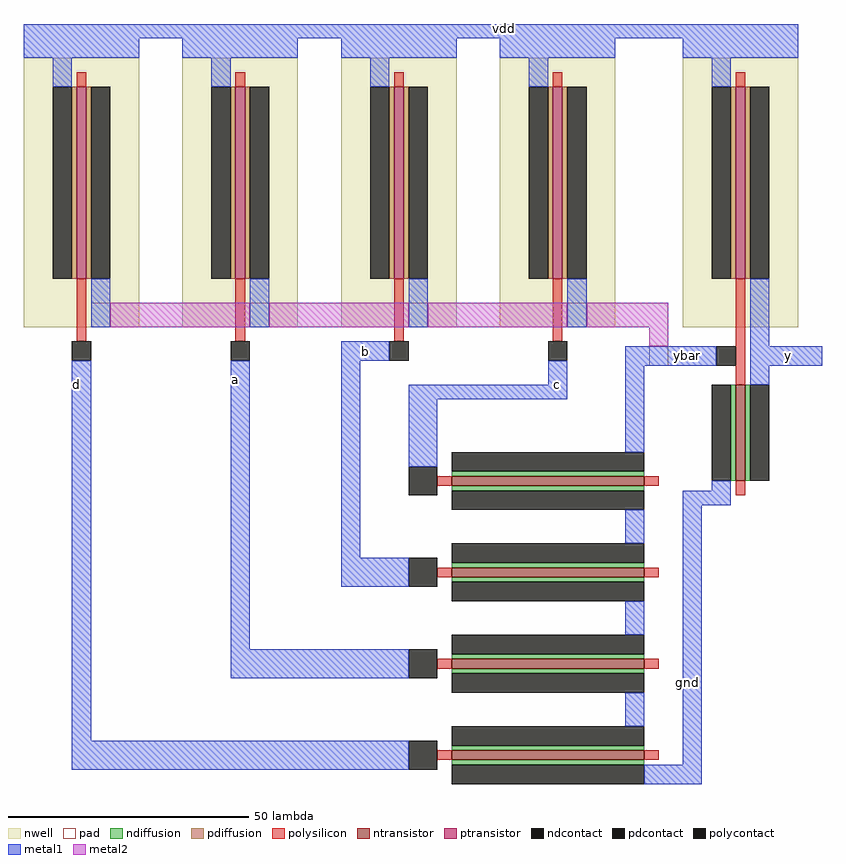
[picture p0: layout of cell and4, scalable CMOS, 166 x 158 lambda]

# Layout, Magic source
magic
tech scmos
<< nwell >>
rect -153 0 -129 56
rect -120 0 -96 56
rect -87 0 -63 56
rect -54 0 -30 56
rect -16 0 8 56
<< polysilicon >>
rect -142 50 -140 53
rect -109 50 -107 53
rect -76 50 -74 53
rect -43 50 -41 53
rect -5 50 -3 53
rect -142 -3 -140 10
rect -109 -3 -107 10
rect -76 -3 -74 10
rect -43 -3 -41 10
rect -5 -12 -3 10
rect -67 -33 -64 -31
rect -24 -33 -21 -31
rect -5 -35 -3 -32
rect -67 -52 -64 -50
rect -24 -52 -21 -50
rect -67 -71 -64 -69
rect -24 -71 -21 -69
rect -67 -90 -64 -88
rect -24 -90 -21 -88
<< ndiffusion >>
rect -64 -31 -24 -30
rect -6 -32 -5 -12
rect -3 -32 -2 -12
rect -64 -34 -24 -33
rect -64 -50 -24 -49
rect -64 -53 -24 -52
rect -64 -69 -24 -68
rect -64 -72 -24 -71
rect -64 -88 -24 -87
rect -64 -91 -24 -90
<< pdiffusion >>
rect -143 10 -142 50
rect -140 10 -139 50
rect -110 10 -109 50
rect -107 10 -106 50
rect -77 10 -76 50
rect -74 10 -73 50
rect -44 10 -43 50
rect -41 10 -40 50
rect -6 10 -5 50
rect -3 10 -2 50
<< metal1 >>
rect -153 60 8 63
rect -153 56 -129 60
rect -120 56 -96 60
rect -87 56 -63 60
rect -54 56 -30 60
rect -16 56 8 60
rect -147 50 -143 56
rect -114 50 -110 56
rect -81 50 -77 56
rect -48 50 -44 56
rect -10 50 -6 56
rect -139 0 -135 10
rect -106 0 -102 10
rect -73 0 -69 10
rect -40 0 -36 10
rect -143 -86 -139 -7
rect -110 -67 -106 -7
rect -87 -7 -77 -3
rect -2 -4 2 10
rect -87 -48 -83 -7
rect -44 -12 -40 -7
rect -73 -15 -40 -12
rect -28 -8 -9 -4
rect -2 -8 13 -4
rect -73 -29 -67 -15
rect -28 -26 -24 -8
rect -2 -12 2 -8
rect -10 -34 -6 -32
rect -28 -45 -24 -38
rect -87 -54 -73 -48
rect -16 -37 -6 -34
rect -28 -64 -24 -57
rect -110 -73 -73 -67
rect -28 -83 -24 -76
rect -143 -92 -73 -86
rect -16 -91 -12 -37
rect -24 -95 -12 -91
<< metal2 >>
rect -135 0 -106 5
rect -102 0 -73 5
rect -69 0 -40 5
rect -36 0 -19 5
rect -23 -4 -19 0
<< ntransistor >>
rect -64 -33 -24 -31
rect -5 -32 -3 -12
rect -64 -52 -24 -50
rect -64 -71 -24 -69
rect -64 -90 -24 -88
<< ptransistor >>
rect -142 10 -140 50
rect -109 10 -107 50
rect -76 10 -74 50
rect -43 10 -41 50
rect -5 10 -3 50
<< polycontact >>
rect -143 -7 -139 -3
rect -110 -7 -106 -3
rect -77 -7 -73 -3
rect -44 -7 -40 -3
rect -9 -8 -5 -4
rect -73 -35 -67 -29
rect -73 -54 -67 -48
rect -73 -73 -67 -67
rect -73 -92 -67 -86
<< ndcontact >>
rect -64 -30 -24 -26
rect -10 -32 -6 -12
rect -2 -32 2 -12
rect -64 -38 -24 -34
rect -64 -49 -24 -45
rect -64 -57 -24 -53
rect -64 -68 -24 -64
rect -64 -76 -24 -72
rect -64 -87 -24 -83
rect -64 -95 -24 -91
<< pdcontact >>
rect -147 10 -143 50
rect -139 10 -135 50
rect -114 10 -110 50
rect -106 10 -102 50
rect -81 10 -77 50
rect -73 10 -69 50
rect -48 10 -44 50
rect -40 10 -36 50
rect -10 10 -6 50
rect -2 10 2 50
<< pad >>
rect -139 0 -135 5
rect -106 0 -102 5
rect -73 0 -69 5
rect -40 0 -36 5
rect -23 -8 -19 -4
<< labels >>
rlabel metal1 -15 -6 -15 -6 1 ybar
rlabel metal1 -109 -11 -109 -11 1 a
rlabel metal1 -42 -12 -42 -12 1 c
rlabel metal1 -53 62 -53 62 5 vdd
rlabel metal1 -82 -5 -82 -5 1 b
rlabel metal1 -15 -74 -15 -74 1 gnd
rlabel metal1 6 -6 6 -6 1 y
rlabel metal1 -142 -12 -142 -12 1 d
<< end >>
